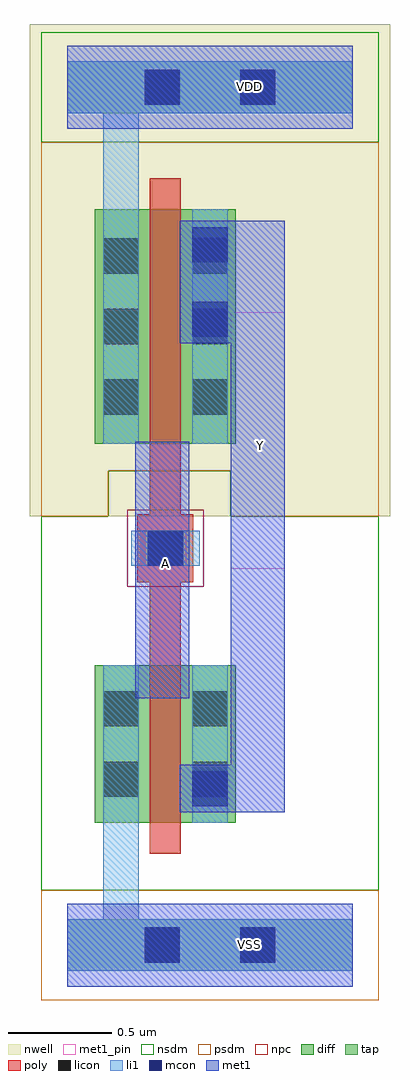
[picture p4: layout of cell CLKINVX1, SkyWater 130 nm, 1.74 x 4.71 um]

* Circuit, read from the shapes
.subckt CLKINVX1 A VDD VSS Y
XM1 Y A VSS VSS sky130_fd_pr__nfet_01v8 w=0.76 l=0.15
XM2 Y A VDD VDD sky130_fd_pr__pfet_01v8 w=1.13 l=0.15
.ends

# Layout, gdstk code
from math import pi, radians
import gdstk
lib = gdstk.Library(unit=1e-6, precision=1e-09)
def R(c, l, rs):  # rectangles x0, y0, x1, y1
    for r in rs: c.add(gdstk.rectangle(r[:2], r[2:], *l))
def A(c, l, x, y, w, h, nx, ny, dx, dy):  # array of equal rectangles
    R(c, l, [(x+i*dx, y+j*dy, x+i*dx+w, y+j*dy+h) for i in range(nx) for j in range(ny)])
def P(c, l, *ps):  # polygons
    for p in ps: c.add(gdstk.Polygon(p, *l))
nwell = (64, 20)
diff = (65, 20)
tap = (65, 44)
poly = (66, 20)
licon = (66, 44)
li1 = (67, 20)
mcon = (67, 44)
met1_pin = (68, 16)
met1 = (68, 20)
nsdm = (93, 44)
psdm = (94, 20)
npc = (95, 20)

pyl1con_c_cdns_751554744 = lib.new_cell('PYL1CON_C_CDNS_751554744751')
R(pyl1con_c_cdns_751554744, poly, [(-0.135,-0.165,0.135,0.165)])
R(pyl1con_c_cdns_751554744, licon, [(-0.085,-0.085,0.085,0.085)])
R(pyl1con_c_cdns_751554744, npc, [(-0.185,-0.185,0.185,0.185)])

l1m1_c_cdns_751554744750 = lib.new_cell('L1M1_C_CDNS_751554744750$$9')
R(l1m1_c_cdns_751554744750, li1, [(-0.165,-0.085,0.165,0.085)])
R(l1m1_c_cdns_751554744750, mcon, [(-0.085,-0.085,0.085,0.085)])
R(l1m1_c_cdns_751554744750, met1, [(-0.115,-0.145,0.115,0.145)])

c_l1m1_c_cdns_751554744750 = lib.new_cell('L1M1_C_CDNS_751554744750$$12')
R(c_l1m1_c_cdns_751554744750, li1, [(-0.085,-0.345,0.085,0.345)])
R(c_l1m1_c_cdns_751554744750, mcon, [(-0.085,-0.265,0.085,-0.095), (-0.085,0.095,0.085,0.265)])
R(c_l1m1_c_cdns_751554744750, met1, [(-0.145,-0.295,0.145,0.295)])

c_l1m1_c_cdns_751554744750_ = lib.new_cell('L1M1_C_CDNS_751554744750$$13')
R(c_l1m1_c_cdns_751554744750_, li1, [(-0.085,-0.165,0.085,0.165)])
R(c_l1m1_c_cdns_751554744750_, mcon, [(-0.085,-0.085,0.085,0.085)])
R(c_l1m1_c_cdns_751554744750_, met1, [(-0.145,-0.115,0.145,0.115)])

clkinvx1 = lib.new_cell('CLKINVX1')
R(clkinvx1, nwell, [(-0.18,2.07,1.56,4.445)])
R(clkinvx1, diff, [(0.135,0.59,0.815,1.35), (0.135,2.42,0.815,3.55)])
R(clkinvx1, poly, [(0.4,0.44,0.55,3.7)])
A(clkinvx1, licon, 0.175, 2.56, 0.17, 0.17, 1, 3, 0, 0.34)
A(clkinvx1, licon, 0.605, 2.56, 0.17, 0.17, 1, 3, 0, 0.34)
R(clkinvx1, licon, [(0.375,-0.085,0.545,0.085), (0.835,-0.085,1.005,0.085), (0.175,0.715,0.345,0.885), (0.605,0.715,0.775,0.885), (0.175,1.055,0.345,1.225), (0.605,1.055,0.775,1.225), (0.375,4.055,0.545,4.225), (0.835,4.055,1.005,4.225)])
R(clkinvx1, li1, [(0.605,0.59,0.775,1.35), (0.605,2.42,0.775,3.55)])
P(clkinvx1, li1, [(1.38,4.265),(0,4.265),(0,4.015),(0.175,4.015),(0.175,2.42),(0.345,2.42),(0.345,4.015),(1.38,4.015)],
  [(1.38,0.125),(0.345,0.125),(0.345,1.35),(0.175,1.35),(0.175,0.125),(0,0.125),(0,-0.125),(1.38,-0.125)])
R(clkinvx1, mcon, [(0.375,-0.085,0.545,0.085), (0.835,-0.085,1.005,0.085), (0.375,4.055,0.545,4.225), (0.835,4.055,1.005,4.225)])
R(clkinvx1, met1_pin, [(0.33,1.19,0.59,2.43), (0.79,1.815,1.05,3.055)])
R(clkinvx1, nsdm, [(-0.125,3.875,1.505,4.405)])
P(clkinvx1, nsdm, [(1.505,2.07),(0.79,2.07),(0.79,2.29),(0.2,2.29),(0.2,2.07),(-0.125,2.07),(-0.125,0.265),(1.505,0.265)])
R(clkinvx1, psdm, [(-0.125,-0.265,1.505,0.265)])
P(clkinvx1, psdm, [(1.505,3.875),(-0.125,3.875),(-0.125,2.07),(0.2,2.07),(0.2,2.29),(0.79,2.29),(0.79,2.07),(1.505,2.07)])
clkinvx1.add(gdstk.FlexPath([(0,4.14),(1.38,4.14)], 0.25, ends="flush", simple_path=True, layer=65, datatype=44))  # tap
clkinvx1.add(gdstk.FlexPath([(0,0),(1.38,0)], 0.25, ends="flush", simple_path=True, layer=65, datatype=44))  # tap
clkinvx1.add(gdstk.FlexPath([(0,0),(1.38,0)], 0.4, ends="flush", simple_path=True, layer=68, datatype=20))  # met1
clkinvx1.add(gdstk.FlexPath([(0.92,0.64),(0.92,3.495)], 0.26, ends="flush", simple_path=True, layer=68, datatype=20))  # met1
clkinvx1.add(gdstk.FlexPath([(0.46,2.43),(0.46,1.19)], 0.26, ends="flush", simple_path=True, layer=68, datatype=20))  # met1
clkinvx1.add(gdstk.FlexPath([(0,4.14),(1.38,4.14)], 0.4, ends="flush", simple_path=True, layer=68, datatype=20))  # met1
clkinvx1.add(gdstk.FlexPath([(0,0),(1.38,0)], 0.4, ends="flush", simple_path=True, layer=68, datatype=16))  # met1_pin
clkinvx1.add(gdstk.FlexPath([(0,4.14),(1.38,4.14)], 0.4, ends="flush", simple_path=True, layer=68, datatype=16))  # met1_pin
clkinvx1.add(gdstk.Reference(pyl1con_c_cdns_751554744, (0.475,1.915), rotation=pi, x_reflection=True))
clkinvx1.add(gdstk.Reference(l1m1_c_cdns_751554744750, (0.475,1.915)))
clkinvx1.add(gdstk.Reference(c_l1m1_c_cdns_751554744750, (0.69,3.2)))
clkinvx1.add(gdstk.Reference(c_l1m1_c_cdns_751554744750_, (0.69,0.755)))
clkinvx1.add(gdstk.Label('VSS', (0.88,0.005), layer=68, texttype=5))
clkinvx1.add(gdstk.Label('Y', (0.935,2.41), layer=68, texttype=5))
clkinvx1.add(gdstk.Label('A', (0.475,1.84), layer=68, texttype=5))
clkinvx1.add(gdstk.Label('VDD', (0.88,4.145), layer=68, texttype=5))

lib.write_gds('CLKINVX1.gds')
